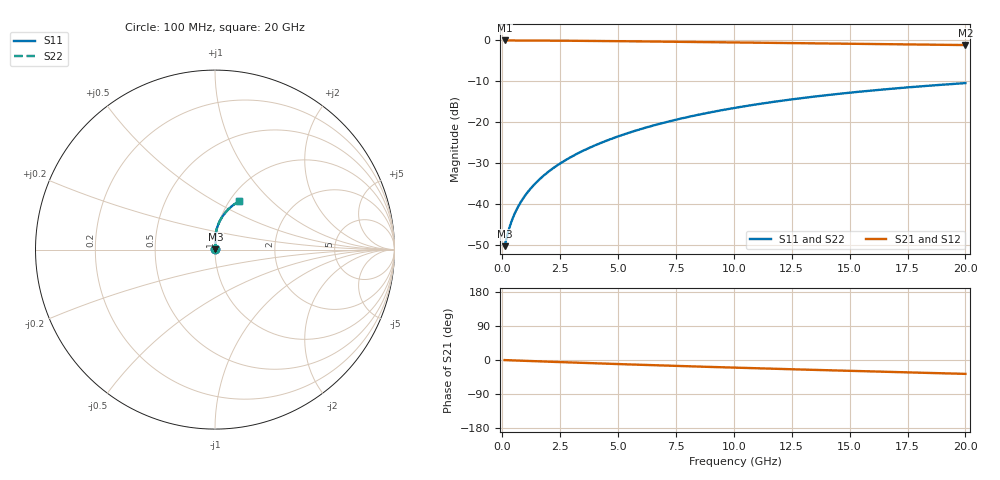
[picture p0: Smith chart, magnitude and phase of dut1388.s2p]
! Touchstone file exported from HFSS 2024.1.0
!  File:  C:/UserFiles/LocalFiles/RDL_TSV_Batchsim/temp_RDL_top_1388_1780367623.aedt
!  Generated:  10:35:53 AM Jun  2, 2026
!  Design:  RDL_top
!  Project:  temp_RDL_top_1388_1780367623
!  Setup:  Setup1
!  Solution:  Sweep
! Variables:
!  dtsv = 10.80580581um
!  hbump = 3um
!  htsv = 79.15um
!  ldown = 100um
!  lrdl = 527.81um
!  p = 40
!  p1 = 49.73um
!  rhole = 1um
!  t = 450um
!  tdown = 3.915915916um
!  trdl = 2.92um
!  wdown = 15.38538539um
!  wrdl = 26.52um
# GHz S MA R 50.000000
! Terminal data exported
! Port[1] = Box2_T1
! Port[2] = Box2_T2
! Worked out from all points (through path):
!   200 points, 100 MHz to 20 GHz, reference 50 ohm
!   highest |S21| = -0.02 dB at 100 MHz (marker M1); lowest = -1.1 dB at 20 GHz (marker M2)
!   group delay of S21, straight-line fit = 5.02 ps
!   lowest |S11| = -50.3 dB at 100 MHz (marker M3), VSWR 1.01, Z = 50.3 + j0.146 ohm
!   |S11| at or under -10 dB: start of sweep to end of sweep
!   |S22| runs from -50.3 to -10.4 dB; largest |S21 - S12| = 4.3e-15
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0.1  0.003065 28.2  0.9973 -0.2  0.9973 -0.2  0.003065 28.2
! Gamma 0 0 0 0
! Port Impedance 50 0 50 0
0.2  0.004005 44.8  0.9971 -0.5  0.9971 -0.5  0.004005 44.8
0.3  0.005085 53.9  0.9969 -0.7  0.9969 -0.7  0.005085 53.9
0.4  0.006183 59.6  0.9967 -0.9  0.9967 -0.9  0.006183 59.6
0.5  0.007278 63.7  0.9965 -1.1  0.9965 -1.1  0.007278 63.7
0.6  0.008377 67.0  0.9963 -1.4  0.9963 -1.4  0.008377 66.9
0.8  0.0106 71.7  0.9959 -1.8  0.9959 -1.8  0.0106 71.7
1  0.01288 75.1  0.9955 -2.2  0.9955 -2.2  0.01288 75.1
1.2  0.01521 77.7  0.9951 -2.7  0.9951 -2.7  0.01521 77.7
1.7  0.02123 81.9  0.9938 -3.8  0.9938 -3.8  0.02123 81.9
2.2  0.0275 84.4  0.9921 -4.9  0.9921 -4.9  0.0275 84.4
2.8  0.03536 86.3  0.9897 -6.2  0.9897 -6.2  0.03535 86.3
3.5  0.04498 87.6  0.9863 -7.6  0.9863 -7.6  0.04497 87.5
4.2  0.05506 88.1  0.9825 -9.1  0.9825 -9.1  0.05505 88.1
5  0.06711 88.2  0.9777 -10.7  0.9777 -10.7  0.06709 88.2
6.8  0.09578 86.8  0.9657 -14.2  0.9657 -14.2  0.09574 86.8
8.4  0.1223 84.6  0.9546 -17.2  0.9546 -17.2  0.1222 84.6
10.1  0.1507 81.7  0.9427 -20.3  0.9427 -20.3  0.1506 81.7
11.7  0.1772 78.7  0.9317 -23.1  0.9317 -23.1  0.1771 78.7
13.4  0.2046 75.5  0.9201 -26.0  0.9201 -26.0  0.2045 75.5
16.7  0.2549 69.4  0.898 -31.4  0.898 -31.4  0.2548 69.4
20  0.3007 63.5  0.8762 -36.6  0.8762 -36.6  0.3006 63.5
